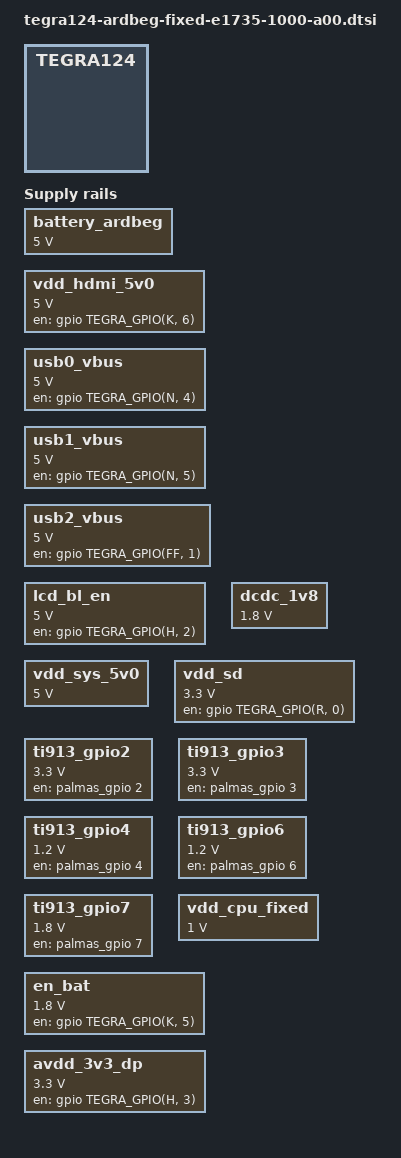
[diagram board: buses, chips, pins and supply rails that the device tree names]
/*
 * arch/arm/boot/dts/tegra124-platforms/tegra124-ardbeg-power-tree-e1735-1000-a00.dtsi
 *
 * Copyright (c) 2014, NVIDIA CORPORATION.  All rights reserved.
 *
 * This program is free software; you can redistribute it and/or modify
 * it under the terms of the GNU General Public License as published by
 * the Free Software Foundation; either version 2 of the License, or
 * (at your option) any later version.
 *
 * This program is distributed in the hope that it will be useful, but WITHOUT
 * ANY WARRANTY; without even the implied warranty of MERCHANTABILITY or
 * FITNESS FOR A PARTICULAR PURPOSE.  See the GNU General Public License for
 * more details.
 *
 * You should have received a copy of the GNU General Public License along
 * with this program; if not, write to the Free Software Foundation, Inc.,
 * 51 Franklin Street, Fifth Floor, Boston, MA  02110-1301, USA.
 */

#include <dt-bindings/gpio/tegra-gpio.h>

/ {
	regulators {
		compatible = "simple-bus";
		device_type = "fixed-regulators";
		#address-cells = <1>;
		#size-cells = <0>;

		battery_ardbeg: regulator@0 {
			compatible = "regulator-fixed";
			reg = <0>;
			regulator-name = "vdd_ac_bat";
			regulator-min-microvolt = <5000000>;
			regulator-max-microvolt = <5000000>;
			regulator-always-on;

			consumers {
				c0 {
					regulator-consumer-supply = "vdd_sys_bl";
				};
			};
		};

		vdd_hdmi_5v0: regulator@1 {
			compatible = "regulator-fixed-sync";
			reg = <1>;
			regulator-name = "vdd-hdmi-5v0";
			regulator-min-microvolt = <5000000>;
			regulator-max-microvolt = <5000000>;
			gpio = <&gpio TEGRA_GPIO(K, 6) 0>;
			enable-active-high;
		};

		usb0_vbus: regulator@2 {
			compatible = "regulator-fixed-sync";
			reg = <2>;
			regulator-name = "usb0-vbus";
			regulator-min-microvolt = <5000000>;
			regulator-max-microvolt = <5000000>;
			gpio = <&gpio TEGRA_GPIO(N, 4) 0>;
			enable-active-high;
			gpio-open-drain;

			consumers {
				c0 {
					regulator-consumer-supply = "usb_vbus";
					regulator-consumer-device = "tegra-ehci.0";
				};
				c1 {
					regulator-consumer-supply = "usb_vbus";
					regulator-consumer-device = "tegra-otg";
				};
			};
		};

		usb1_vbus: regulator@3 {
			compatible = "regulator-fixed-sync";
			reg = <3>;
			regulator-name = "usb1_vbus";
			regulator-min-microvolt = <5000000>;
			regulator-max-microvolt = <5000000>;
			gpio = <&gpio TEGRA_GPIO(N, 5) 0>;
			enable-active-high;
			gpio-open-drain;

			consumers {
				c0 {
					regulator-consumer-supply = "usb_vbus";
					regulator-consumer-device = "tegra-ehci.1";
				};
			};
		};

		usb2_vbus: regulator@4 {
			compatible = "regulator-fixed-sync";
			reg = <4>;
			regulator-name = "usb2_vbus";
			regulator-min-microvolt = <5000000>;
			regulator-max-microvolt = <5000000>;
			gpio = <&gpio TEGRA_GPIO(FF, 1) 0>;
			enable-active-high;
			gpio-open-drain;

			consumers {
				c0 {
					regulator-consumer-supply = "usb_vbus";
					regulator-consumer-device = "tegra-ehci.2";
				};
			};
		};

		lcd_bl_en: regulator@5 {
			compatible = "regulator-fixed-sync";
			reg = <5>;
			regulator-name = "lcd_bl_en";
			regulator-min-microvolt = <5000000>;
			regulator-max-microvolt = <5000000>;
			gpio = <&gpio TEGRA_GPIO(H, 2) 0>;
			enable-active-high;
		};

		dcdc_1v8: regulator@6 {
			compatible = "regulator-fixed";
			reg = <6>;
			regulator-name = "dcdc-1v8";
			regulator-min-microvolt = <1800000>;
			regulator-max-microvolt = <1800000>;

			consumers {
				c0 {
					regulator-consumer-supply = "avdd_lvds0_pll";
				};
				c1 {
					regulator-consumer-supply = "vdd_ds_1v8";
				};
			};
		};

		vdd_sys_5v0: regulator@7 {
			compatible = "regulator-fixed";
			reg = <7>;
			regulator-name = "vdd-sys-5v0";
			regulator-min-microvolt = <5000000>;
			regulator-max-microvolt = <5000000>;

			consumers {
				c0 {
					regulator-consumer-supply = "vdd_spk_5v0";
				};
				c1 {
					regulator-consumer-supply = "spkvdd";
					regulator-consumer-device = "tegra-snd-rt5639.0";
				};
				c2 {
					regulator-consumer-supply = "spkvdd";
					regulator-consumer-device = "tegra-snd-rt5645.0";
				};
			};
		};

		vdd_sd: regulator@8 {
			compatible = "regulator-fixed-sync";
			reg = <8>;
			regulator-name = "vdd-sd";
			regulator-min-microvolt = <3300000>;
			regulator-max-microvolt = <3300000>;
			gpio = <&gpio TEGRA_GPIO(R, 0) 0>;
			enable-active-high;

			consumers {
				c0 {
					regulator-consumer-supply = "vddio_sd_slot";
					regulator-consumer-device = "sdhci-tegra.2";
				};
			};
		};

		ti913_gpio2: regulator@9 {
			compatible = "regulator-fixed-sync";
			reg = <9>;
			regulator-name = "ti913-gpio2";
			regulator-min-microvolt = <3300000>;
			regulator-max-microvolt = <3300000>;
			regulator-always-on;
			regulator-boot-on;
			gpio = <&palmas_gpio 2 0>;
			enable-active-high;

			consumers {
				c0 {
					regulator-consumer-supply = "vdd_wwan_mdm";
				};
			};
		};

		ti913_gpio3: regulator@10 {
			compatible = "regulator-fixed-sync";
			reg = <10>;
			regulator-name = "ti913_gpio3";
			regulator-min-microvolt = <3300000>;
			regulator-max-microvolt = <3300000>;
			gpio = <&palmas_gpio 3 0>;
			enable-active-high;
		};

		ti913_gpio4: regulator@11 {
			compatible = "regulator-fixed-sync";
			reg = <11>;
			regulator-name = "ti913-gpio4";
			regulator-min-microvolt = <1200000>;
			regulator-max-microvolt = <1200000>;
			gpio = <&palmas_gpio 4 0>;
			enable-active-high;

			consumers {
				c0 {
					regulator-consumer-supply = "vdd_lcd_1v2_s";
				};
			};
		};

		ti913_gpio6: regulator@12 {
			compatible = "regulator-fixed-sync";
			reg = <12>;
			regulator-name = "ti913-gpio6";
			regulator-min-microvolt = <1200000>;
			regulator-max-microvolt = <1200000>;
			gpio = <&palmas_gpio 6 0>;
			enable-active-high;

			consumers {
				c0 {
					regulator-consumer-supply = "ldoen";
					regulator-consumer-device = "tegra-snd-rt5639.0";
				};
			};
		};

		ti913_gpio7: regulator@13 {
			compatible = "regulator-fixed-sync";
			reg = <13>;
			regulator-name = "ti913-gpio7";
			regulator-min-microvolt = <1800000>;
			regulator-max-microvolt = <1800000>;
			gpio = <&palmas_gpio 7 0>;
			enable-active-high;

			consumers {
				c1 {
					regulator-consumer-supply = "vdd_lcd_1v8_s";
				};
			};
		};

		vdd_cpu_fixed: regulator@14 {
			compatible = "regulator-fixed";
			reg = <14>;
			regulator-name = "vdd-cpu-fixed";
			regulator-min-microvolt = <1000000>;
			regulator-max-microvolt = <1000000>;
			regulator-boot-on;

			consumers {
				c0 {
				regulator-consumer-supply = "vdd_cpu_fixed";
				};
			};
		};

		en_bat: regulator@15 {
			compatible = "regulator-fixed-sync";
			reg = <15>;
			regulator-name = "en-bat";
			regulator-min-microvolt = <1800000>;
			regulator-max-microvolt = <1800000>;
			regulator-always-on;
			regulator-boot-on;
			gpio = <&gpio TEGRA_GPIO(K, 5) 0>;
			enable-active-high;
		};

		avdd_3v3_dp: regulator@16 {
			compatible = "regulator-fixed-sync";
			reg = <16>;
			regulator-name = "avdd_3v3_dp";
			regulator-min-microvolt = <3300000>;
			regulator-max-microvolt = <3300000>;
			gpio = <&gpio TEGRA_GPIO(H, 3) 0>;
			enable-active-high;
			consumers {
				c0 {
					regulator-consumer-supply = "avdd_3v3_dp";
				};
			};
		};
	};
};
